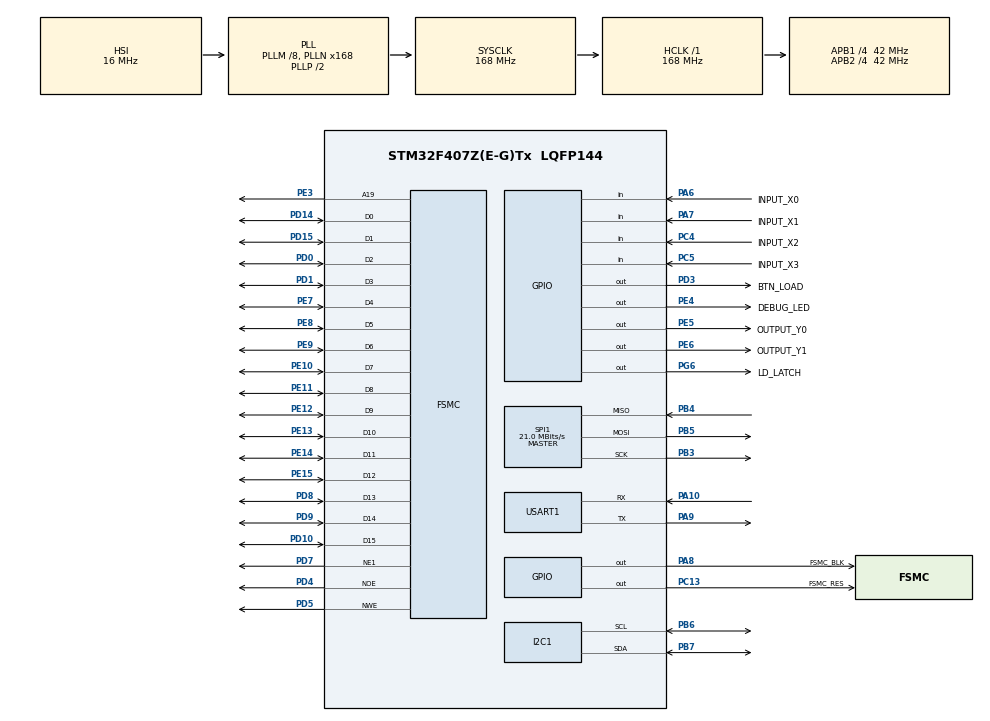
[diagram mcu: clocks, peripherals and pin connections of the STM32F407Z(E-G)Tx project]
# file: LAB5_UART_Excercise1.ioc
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FSMC.AddressSetupTime1=0xf
FSMC.BusTurnAroundDuration1=0
FSMC.DataSetupTime1=60
FSMC.ExtendedAddressSetupTime1=8
FSMC.ExtendedBusTurnAroundDuration1=0
FSMC.ExtendedDataSetupTime1=9
FSMC.ExtendedMode1=FSMC_EXTENDED_MODE_ENABLE
I2C1.I2C_Mode=I2C_Standard
Mcu.Family=STM32F4
Mcu.Name=STM32F407Z(E-G)Tx
Mcu.Package=LQFP144
NVIC.PriorityGroup=NVIC_PRIORITYGROUP_4
NVIC.TIM2_IRQn=true\:0\:0\:false\:false\:true\:true\:true
NVIC.USART1_IRQn=true\:0\:0\:false\:false\:true\:true\:true
PA10.Mode=Asynchronous
PA10.Signal=USART1_RX
PA13.Mode=Serial_Wire
PA13.Signal=SYS_JTMS-SWDIO
PA14.Mode=Serial_Wire
PA14.Signal=SYS_JTCK-SWCLK
PA6.GPIO_Label=INPUT_X0
PA6.Signal=GPIO_Input
PA7.GPIO_Label=INPUT_X1
PA7.Signal=GPIO_Input
PA8.GPIO_Label=FSMC_BLK
PA8.Signal=GPIO_Output
PA9.Mode=Asynchronous
PA9.Signal=USART1_TX
PB3.Mode=Full_Duplex_Master
PB3.Signal=SPI1_SCK
PB4.Mode=Full_Duplex_Master
PB4.Signal=SPI1_MISO
PB5.Mode=Full_Duplex_Master
PB5.Signal=SPI1_MOSI
PB6.Mode=I2C
PB6.Signal=I2C1_SCL
PB7.Mode=I2C
PB7.Signal=I2C1_SDA
PC13-ANTI_TAMP.GPIO_Label=FSMC_RES
PC13-ANTI_TAMP.Signal=GPIO_Output
PC4.GPIO_Label=INPUT_X2
PC4.Signal=GPIO_Input
PC5.GPIO_Label=INPUT_X3
PC5.Signal=GPIO_Input
PD0.Signal=FSMC_D2_DA2
PD1.Signal=FSMC_D3_DA3
PD10.Signal=FSMC_D15_DA15
PD14.Signal=FSMC_D0_DA0
PD15.Signal=FSMC_D1_DA1
PD3.GPIO_Label=BTN_LOAD
PD3.Signal=GPIO_Output
PD4.Signal=FSMC_NOE
PD5.Signal=FSMC_NWE
PD7.Mode=NorPsramChipSelect1_1
PD7.Signal=FSMC_NE1
PD8.Signal=FSMC_D13_DA13
PD9.Signal=FSMC_D14_DA14
PE10.Signal=FSMC_D7_DA7
PE11.Signal=FSMC_D8_DA8
PE12.Signal=FSMC_D9_DA9
PE13.Signal=FSMC_D10_DA10
PE14.Signal=FSMC_D11_DA11
PE15.Signal=FSMC_D12_DA12
PE3.Signal=FSMC_A19
PE4.GPIO_Label=DEBUG_LED
PE4.Signal=GPIO_Output
PE5.GPIO_Label=OUTPUT_Y0
PE5.Signal=GPIO_Output
PE6.GPIO_Label=OUTPUT_Y1
PE6.Signal=GPIO_Output
PE7.Signal=FSMC_D4_DA4
PE8.Signal=FSMC_D5_DA5
PE9.Signal=FSMC_D6_DA6
PG6.GPIO_Label=LD_LATCH
PG6.Signal=GPIO_Output
PH0-OSC_IN.Mode=HSE-External-Oscillator
PH0-OSC_IN.Signal=RCC_OSC_IN
PH1-OSC_OUT.Mode=HSE-External-Oscillator
PH1-OSC_OUT.Signal=RCC_OSC_OUT
ProjectManager.HeapSize=0x200
ProjectManager.StackSize=0x400
ProjectManager.TargetToolchain=STM32CubeIDE
RCC.48MHZClocksFreq_Value=84000000
RCC.AHBFreq_Value=168000000
RCC.APB1CLKDivider=RCC_HCLK_DIV4
RCC.APB1Freq_Value=42000000
RCC.APB1TimFreq_Value=84000000
RCC.APB2CLKDivider=RCC_HCLK_DIV4
RCC.APB2Freq_Value=42000000
RCC.APB2TimFreq_Value=84000000
RCC.CortexFreq_Value=168000000
RCC.HCLKFreq_Value=168000000
RCC.HSE_VALUE=8000000
RCC.HSI_VALUE=16000000
RCC.LSE_VALUE=32768
RCC.PLLM=8
RCC.PLLN=168
RCC.SYSCLKFreq_VALUE=168000000
RCC.SYSCLKSource=RCC_SYSCLKSOURCE_PLLCLK
RCC.VCOOutputFreq_Value=336000000
SH.FSMC_A19.0=FSMC_A19,A19_1
SH.FSMC_D0_DA0.0=FSMC_D0,16b-d1
SH.FSMC_D10_DA10.0=FSMC_D10,16b-d1
SH.FSMC_D11_DA11.0=FSMC_D11,16b-d1
SH.FSMC_D12_DA12.0=FSMC_D12,16b-d1
SH.FSMC_D13_DA13.0=FSMC_D13,16b-d1
SH.FSMC_D14_DA14.0=FSMC_D14,16b-d1
SH.FSMC_D15_DA15.0=FSMC_D15,16b-d1
SH.FSMC_D1_DA1.0=FSMC_D1,16b-d1
SH.FSMC_D2_DA2.0=FSMC_D2,16b-d1
SH.FSMC_D3_DA3.0=FSMC_D3,16b-d1
SH.FSMC_D4_DA4.0=FSMC_D4,16b-d1
SH.FSMC_D5_DA5.0=FSMC_D5,16b-d1
SH.FSMC_D6_DA6.0=FSMC_D6,16b-d1
SH.FSMC_D7_DA7.0=FSMC_D7,16b-d1
SH.FSMC_D8_DA8.0=FSMC_D8,16b-d1
SH.FSMC_D9_DA9.0=FSMC_D9,16b-d1
SH.FSMC_NOE.0=FSMC_NOE,Lcd1
SH.FSMC_NWE.0=FSMC_NWE,Lcd1
SPI1.BaudRatePrescaler=SPI_BAUDRATEPRESCALER_2
SPI1.CalculateBaudRate=21.0 MBits/s
SPI1.Direction=SPI_DIRECTION_2LINES
SPI1.Mode=SPI_MODE_MASTER
SPI1.VirtualType=VM_MASTER
TIM2.Period=100-1
TIM2.Prescaler=840-1
USART1.VirtualMode=VM_ASYNC
VP_TIM2_VS_ClockSourceINT.Mode=Internal
board=custom

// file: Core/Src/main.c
/* USER CODE BEGIN Header */
/**
  ******************************************************************************
  * @file           : main.c
  * @brief          : Main program body
  ******************************************************************************
  * @attention
  *
  * <h2><center>&copy; Copyright (c) 2024 STMicroelectronics.
  * All rights reserved.</center></h2>
  *
  * This software component is licensed by ST under BSD 3-Clause license,
  * the "License"; You may not use this file except in compliance with the
  * License. You may obtain a copy of the License at:
  *                        opensource.org/licenses/BSD-3-Clause
  *
  ******************************************************************************
  */
/* USER CODE END Header */
#include "main.h"
#include "i2c.h"
#include "spi.h"
#include "tim.h"
#include "usart.h"
#include "gpio.h"
#include "fsmc.h"

/* USER CODE BEGIN Includes */
#include "software_timer.h"
#include "led_7seg.h"
#include "button.h"
#include "lcd.h"
#include "picture.h"
#include "ds3231.h"
#include "uart.h"
#include "ring_buffer.h"
/* USER CODE END Includes */

void SystemClock_Config(void);
/* USER CODE BEGIN PFP */
void system_init();
void test_LedDebug();
void test_Uart();
/* USER CODE END PFP */

int main(void)
{

  /* MCU Configuration--------------------------------------------------------*/

  /* Reset of all peripherals, Initializes the Flash interface and the Systick. */
  HAL_Init();

  /* Configure the system clock */
  SystemClock_Config();

  /* Initialize all configured peripherals */
  MX_GPIO_Init();
  MX_TIM2_Init();
  MX_SPI1_Init();
  MX_FSMC_Init();
  MX_I2C1_Init();
  MX_USART1_UART_Init();
  /* USER CODE BEGIN 2 */

  uint8_t byte; //Temp storage for UART data

  /* USER CODE END 2 */

  /* Infinite loop */
  /* USER CODE BEGIN WHILE */
  while (1)
  {
	  if(flag_timer2) {
		  flag_timer2 = 0;
		  button_Scan();
		  test_LedDebug();
		  ds3231_ReadTime();

		  if(uart_receive_flag) {
			  uart_receive_flag = 0;
			  uint8_t receive_data;
			  while(uart_ring_buffer.length > 0) {
				  //Process the received data
				  ringBufferPop(&uart_ring_buffer, &receive_data);
			  }
		  }

	  }
    /* USER CODE END WHILE */

  }
}

void SystemClock_Config(void)
{
  RCC_OscInitTypeDef RCC_OscInitStruct = {0};
  RCC_ClkInitTypeDef RCC_ClkInitStruct = {0};

  /** Configure the main internal regulator output voltage
  */
  __HAL_RCC_PWR_CLK_ENABLE();
  __HAL_PWR_VOLTAGESCALING_CONFIG(PWR_REGULATOR_VOLTAGE_SCALE1);
  /** Initializes the RCC Oscillators according to the specified parameters
  * in the RCC_OscInitTypeDef structure.
  */
  RCC_OscInitStruct.OscillatorType = RCC_OSCILLATORTYPE_HSI;
  RCC_OscInitStruct.HSIState = RCC_HSI_ON;
  RCC_OscInitStruct.HSICalibrationValue = RCC_HSICALIBRATION_DEFAULT;
  RCC_OscInitStruct.PLL.PLLState = RCC_PLL_ON;
  RCC_OscInitStruct.PLL.PLLSource = RCC_PLLSOURCE_HSI;
  RCC_OscInitStruct.PLL.PLLM = 8;
  RCC_OscInitStruct.PLL.PLLN = 168;
  RCC_OscInitStruct.PLL.PLLP = RCC_PLLP_DIV2;
  RCC_OscInitStruct.PLL.PLLQ = 4;
  if (HAL_RCC_OscConfig(&RCC_OscInitStruct) != HAL_OK)
  {
    Error_Handler();
  }
  /** Initializes the CPU, AHB and APB buses clocks
  */
  RCC_ClkInitStruct.ClockType = RCC_CLOCKTYPE_HCLK|RCC_CLOCKTYPE_SYSCLK
                              |RCC_CLOCKTYPE_PCLK1|RCC_CLOCKTYPE_PCLK2;
  RCC_ClkInitStruct.SYSCLKSource = RCC_SYSCLKSOURCE_PLLCLK;
  RCC_ClkInitStruct.AHBCLKDivider = RCC_SYSCLK_DIV1;
  RCC_ClkInitStruct.APB1CLKDivider = RCC_HCLK_DIV4;
  RCC_ClkInitStruct.APB2CLKDivider = RCC_HCLK_DIV4;

  if (HAL_RCC_ClockConfig(&RCC_ClkInitStruct, FLASH_LATENCY_5) != HAL_OK)
  {
    Error_Handler();
  }
}

/* USER CODE BEGIN 4 */
void system_init(){
	  HAL_GPIO_WritePin(OUTPUT_Y0_GPIO_Port, OUTPUT_Y0_Pin, 0);
	  HAL_GPIO_WritePin(OUTPUT_Y1_GPIO_Port, OUTPUT_Y1_Pin, 0);
	  HAL_GPIO_WritePin(DEBUG_LED_GPIO_Port, DEBUG_LED_Pin, 0);
	  timer_init();
	  led7_init();
	  button_init();
	  lcd_init();
	  uart_init_rs232();
	  setTimer2(50);
}

uint16_t count_led_debug = 0;

void test_LedDebug() {
	count_led_debug = (count_led_debug + 1) % 20;
	if (count_led_debug == 0) {
		HAL_GPIO_TogglePin(DEBUG_LED_GPIO_Port, DEBUG_LED_Pin);
	}
}

void test_Uart() {
	if (button_count[12] == 1) {
		uart_Rs232SendNum(ds3231_hours);
		uart_Rs232SendString(":");
		uart_Rs232SendNum(ds3231_min);
		uart_Rs232SendString(":");
		uart_Rs232SendNum(ds3231_sec);
		uart_Rs232SendString("\n");
	}
}

/* USER CODE END 4 */

void Error_Handler(void)
{
  __disable_irq();
  while (1)
  {
  }
}

/************************ (C) COPYRIGHT STMicroelectronics *****END OF FILE****/
